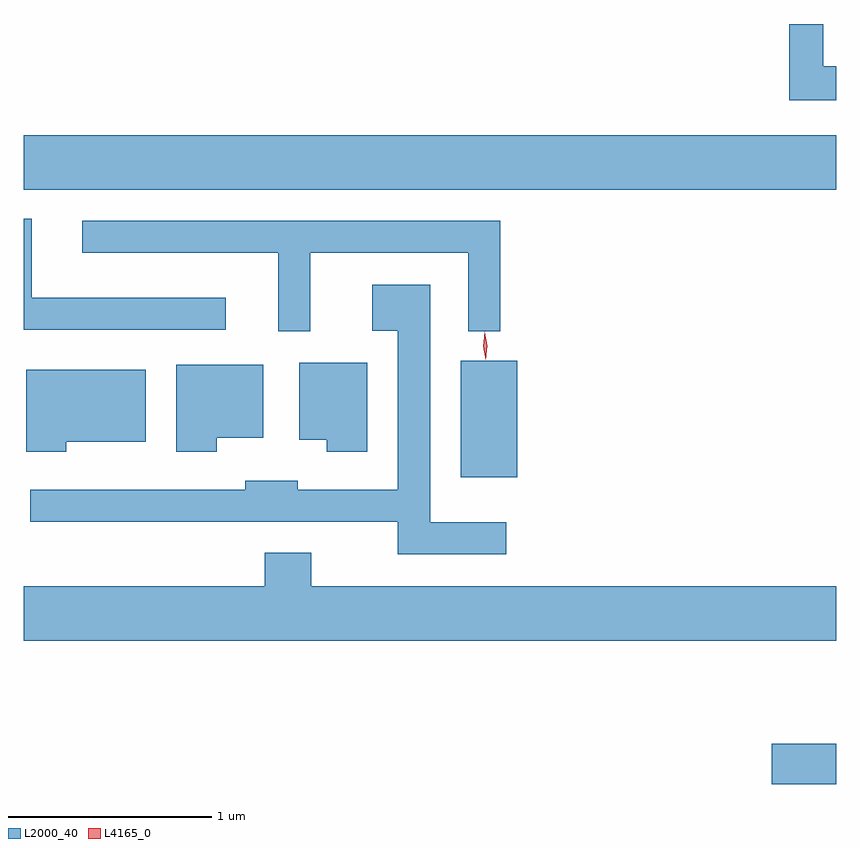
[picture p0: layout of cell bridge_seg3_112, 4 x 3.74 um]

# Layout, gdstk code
import gdstk
lib = gdstk.Library(unit=1e-6, precision=1e-09)
def R(c, l, rs):  # rectangles x0, y0, x1, y1
    for r in rs: c.add(gdstk.rectangle(r[:2], r[2:], *l))
def P(c, l, *ps):  # polygons
    for p in ps: c.add(gdstk.Polygon(p, *l))
L2000_40 = (2000, 40)
L4165_0 = (4165, 0)

bridge_seg3_112 = lib.new_cell('bridge_seg3_112')
R(bridge_seg3_112, L2000_40, [(1082.546,1191.911,1082.864,1192.109), (1081.016,1193.421,1081.294,1193.994), (1078.864,1194.836,1082.864,1195.104)])
P(bridge_seg3_112, L2000_40, [(1082.864,1195.444),(1082.799,1195.444),(1082.799,1195.651),(1082.631,1195.651),(1082.631,1195.276),(1082.864,1195.276)],
  [(1079.858,1194.304),(1078.904,1194.304),(1078.904,1194.693),(1078.864,1194.693),(1078.864,1194.146),(1079.858,1194.146)],
  [(1080.274,1194.526),(1081.051,1194.526),(1081.051,1194.138),(1081.209,1194.138),(1081.209,1194.684),(1079.153,1194.684),(1079.153,1194.526),(1080.116,1194.526),(1080.116,1194.138),(1080.274,1194.138)],
  [(1081.238,1193.199),(1080.864,1193.199),(1080.864,1194.369),(1080.581,1194.369),(1080.581,1194.141),(1080.706,1194.141),(1080.706,1193.359),(1080.214,1193.359),(1080.214,1193.404),(1079.956,1193.404),(1079.956,1193.359),(1078.898,1193.359),(1078.898,1193.201),(1080.706,1193.201),(1080.706,1193.041),(1081.238,1193.041)],
  [(1080.554,1193.984),(1080.221,1193.984),(1080.221,1193.606),(1080.356,1193.606),(1080.356,1193.546),(1080.554,1193.546)],
  [(1079.814,1193.616),(1080.044,1193.616),(1080.044,1193.974),(1079.616,1193.974),(1079.616,1193.546),(1079.814,1193.546)],
  [(1079.074,1193.596),(1079.464,1193.596),(1079.464,1193.949),(1078.876,1193.949),(1078.876,1193.546),(1079.074,1193.546)],
  [(1082.864,1192.884),(1080.279,1192.884),(1080.279,1193.049),(1080.051,1193.049),(1080.051,1192.884),(1078.864,1192.884),(1078.864,1192.616),(1082.864,1192.616)])
P(bridge_seg3_112, L4165_0, [(1081.138,1193.998),(1081.138,1193.998),(1081.126,1194.066),(1081.133,1194.135),(1081.134,1194.136),(1081.134,1194.135),(1081.146,1194.067),(1081.139,1193.998)],
  [(1081.138,1194),(1081.138,1194.001),(1081.126,1194.066),(1081.133,1194.132),(1081.134,1194.132),(1081.134,1194.132),(1081.146,1194.067),(1081.139,1194.001)])

lib.write_gds('bridge_seg3_112.gds')
